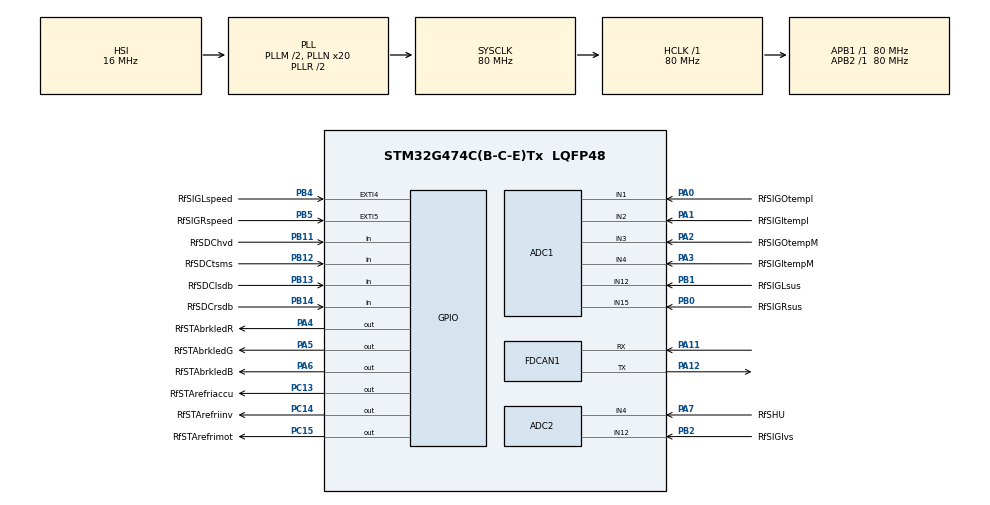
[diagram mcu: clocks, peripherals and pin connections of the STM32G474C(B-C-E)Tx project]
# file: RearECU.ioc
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ADC1.Channel-0\#ChannelRegularConversion=ADC_CHANNEL_1
ADC1.Channel-1\#ChannelRegularConversion=ADC_CHANNEL_2
ADC1.Channel-2\#ChannelRegularConversion=ADC_CHANNEL_3
ADC1.Channel-3\#ChannelRegularConversion=ADC_CHANNEL_4
ADC1.Channel-4\#ChannelRegularConversion=ADC_CHANNEL_12
ADC1.Channel-5\#ChannelRegularConversion=ADC_CHANNEL_15
ADC1.ClockPrescaler=ADC_CLOCK_SYNC_PCLK_DIV2
ADC1.ContinuousConvMode=ENABLE
ADC1.DMAContinuousRequests=ENABLE
ADC1.EOCSelection=ADC_EOC_SEQ_CONV
ADC1.EnableAnalogWatchDog1=false
ADC1.EnableInjectedConversion=DISABLE
ADC1.Mode=ADC_MODE_INDEPENDENT
ADC1.NbrOfConversion=6
ADC1.NbrOfConversionFlag=1
ADC1.OffsetNumber-0\#ChannelRegularConversion=ADC_OFFSET_NONE
ADC1.OffsetNumber-1\#ChannelRegularConversion=ADC_OFFSET_NONE
ADC1.OffsetNumber-2\#ChannelRegularConversion=ADC_OFFSET_NONE
ADC1.OffsetNumber-3\#ChannelRegularConversion=ADC_OFFSET_NONE
ADC1.OffsetNumber-4\#ChannelRegularConversion=ADC_OFFSET_NONE
ADC1.OffsetNumber-5\#ChannelRegularConversion=ADC_OFFSET_NONE
ADC1.Rank-0\#ChannelRegularConversion=1
ADC1.Rank-1\#ChannelRegularConversion=2
ADC1.Rank-2\#ChannelRegularConversion=3
ADC1.Rank-3\#ChannelRegularConversion=4
ADC1.Rank-4\#ChannelRegularConversion=5
ADC1.Rank-5\#ChannelRegularConversion=6
ADC1.Rank1_Channel=ADC_CHANNEL_1
ADC1.SamplingTime-0\#ChannelRegularConversion=ADC_SAMPLETIME_247CYCLES_5
ADC1.SamplingTime-1\#ChannelRegularConversion=ADC_SAMPLETIME_247CYCLES_5
ADC1.SamplingTime-2\#ChannelRegularConversion=ADC_SAMPLETIME_247CYCLES_5
ADC1.SamplingTime-3\#ChannelRegularConversion=ADC_SAMPLETIME_247CYCLES_5
ADC1.SamplingTime-4\#ChannelRegularConversion=ADC_SAMPLETIME_247CYCLES_5
ADC1.SamplingTime-5\#ChannelRegularConversion=ADC_SAMPLETIME_247CYCLES_5
ADC1.master=1
ADC2.Channel-0\#ChannelRegularConversion=ADC_CHANNEL_4
ADC2.Channel-1\#ChannelRegularConversion=ADC_CHANNEL_12
ADC2.DMAContinuousRequests=ENABLE
ADC2.EOCSelection=ADC_EOC_SEQ_CONV
ADC2.NbrOfConversion=2
ADC2.NbrOfConversionFlag=1
ADC2.OffsetNumber-0\#ChannelRegularConversion=ADC_OFFSET_NONE
ADC2.OffsetNumber-1\#ChannelRegularConversion=ADC_OFFSET_NONE
ADC2.Rank-0\#ChannelRegularConversion=1
ADC2.Rank-1\#ChannelRegularConversion=2
ADC2.SamplingTime-0\#ChannelRegularConversion=ADC_SAMPLETIME_247CYCLES_5
ADC2.SamplingTime-1\#ChannelRegularConversion=ADC_SAMPLETIME_247CYCLES_5
Dma.ADC1.0.Direction=DMA_PERIPH_TO_MEMORY
Dma.ADC1.0.EventEnable=DISABLE
Dma.ADC1.0.Instance=DMA1_Channel1
Dma.ADC1.0.MemDataAlignment=DMA_MDATAALIGN_HALFWORD
Dma.ADC1.0.MemInc=DMA_MINC_ENABLE
Dma.ADC1.0.Mode=DMA_CIRCULAR
Dma.ADC1.0.PeriphDataAlignment=DMA_PDATAALIGN_HALFWORD
Dma.ADC1.0.PeriphInc=DMA_PINC_DISABLE
Dma.ADC1.0.Polarity=HAL_DMAMUX_REQ_GEN_RISING
Dma.ADC1.0.Priority=DMA_PRIORITY_LOW
Dma.ADC1.0.RequestNumber=1
Dma.ADC1.0.SignalID=NONE
Dma.ADC1.0.SyncEnable=DISABLE
Dma.ADC1.0.SyncPolarity=HAL_DMAMUX_SYNC_NO_EVENT
Dma.ADC1.0.SyncRequestNumber=1
Dma.ADC1.0.SyncSignalID=NONE
Dma.ADC2.1.Direction=DMA_PERIPH_TO_MEMORY
Dma.ADC2.1.EventEnable=DISABLE
Dma.ADC2.1.Instance=DMA1_Channel2
Dma.ADC2.1.MemDataAlignment=DMA_MDATAALIGN_HALFWORD
Dma.ADC2.1.MemInc=DMA_MINC_ENABLE
Dma.ADC2.1.Mode=DMA_CIRCULAR
Dma.ADC2.1.PeriphDataAlignment=DMA_PDATAALIGN_HALFWORD
Dma.ADC2.1.PeriphInc=DMA_PINC_DISABLE
Dma.ADC2.1.Polarity=HAL_DMAMUX_REQ_GEN_RISING
Dma.ADC2.1.Priority=DMA_PRIORITY_LOW
Dma.ADC2.1.RequestNumber=1
Dma.ADC2.1.SignalID=NONE
Dma.ADC2.1.SyncEnable=DISABLE
Dma.ADC2.1.SyncPolarity=HAL_DMAMUX_SYNC_NO_EVENT
Dma.ADC2.1.SyncRequestNumber=1
Dma.ADC2.1.SyncSignalID=NONE
Dma.Request0=ADC1
Dma.Request1=ADC2
FDCAN1.AutoRetransmission=ENABLE
FDCAN1.CalculateBaudRateNominal=250000
FDCAN1.CalculateTimeBitNominal=4000
FDCAN1.CalculateTimeQuantumNominal=250.0
FDCAN1.NominalPrescaler=20
FDCAN1.NominalTimeSeg1=13
FDCAN1.NominalTimeSeg2=2
Mcu.Family=STM32G4
Mcu.Name=STM32G474C(B-C-E)Tx
Mcu.Package=LQFP48
NVIC.ADC1_2_IRQn=true\:0\:0\:false\:false\:true\:true\:true\:true
NVIC.DMA1_Channel1_IRQn=true\:0\:0\:false\:false\:true\:false\:true\:true
NVIC.DMA1_Channel2_IRQn=true\:0\:0\:false\:false\:true\:false\:true\:true
NVIC.PriorityGroup=NVIC_PRIORITYGROUP_4
PA0.GPIO_Label=RfSIGOtempI
PA0.Mode=IN1-Single-Ended
PA0.Signal=ADC1_IN1
PA1.GPIO_Label=RfSIGItempI
PA1.Mode=IN2-Single-Ended
PA1.Signal=ADC1_IN2
PA11.Mode=FDCAN_Activate
PA11.Signal=FDCAN1_RX
PA12.Mode=FDCAN_Activate
PA12.Signal=FDCAN1_TX
PA13.Mode=Trace_Asynchronous_SW
PA13.Signal=SYS_JTMS-SWDIO
PA14.Mode=Trace_Asynchronous_SW
PA14.Signal=SYS_JTCK-SWCLK
PA2.GPIO_Label=RfSIGOtempM
PA2.Mode=IN3-Single-Ended
PA2.Signal=ADC1_IN3
PA3.GPIO_Label=RfSIGItempM
PA3.Mode=IN4-Single-Ended
PA3.Signal=ADC1_IN4
PA4.GPIO_Label=RfSTAbrkledR
PA4.Signal=GPIO_Output
PA5.GPIO_Label=RfSTAbrkledG
PA5.Signal=GPIO_Output
PA6.GPIO_Label=RfSTAbrkledB
PA6.Signal=GPIO_Output
PA7.GPIO_Label=RfSHU
PA7.Mode=IN4-Single-Ended
PA7.Signal=ADC2_IN4
PB0.GPIO_Label=RfSIGRsus
PB0.Mode=IN15-Single-Ended
PB0.Signal=ADC1_IN15
PB1.GPIO_Label=RfSIGLsus
PB1.Mode=IN12-Single-Ended
PB1.Signal=ADC1_IN12
PB11.GPIO_Label=RfSDChvd
PB11.Signal=GPIO_Input
PB12.GPIO_Label=RfSDCtsms
PB12.Signal=GPIO_Input
PB13.GPIO_Label=RfSDClsdb
PB13.Signal=GPIO_Input
PB14.GPIO_Label=RfSDCrsdb
PB14.Signal=GPIO_Input
PB2.GPIO_Label=RfSIGlvs
PB2.Mode=IN12-Single-Ended
PB2.Signal=ADC2_IN12
PB3.Mode=Trace_Asynchronous_SW
PB3.Signal=SYS_JTDO-SWO
PB4.GPIO_Label=RfSIGLspeed
PB4.Signal=GPXTI4
PB5.GPIO_Label=RfSIGRspeed
PB5.Signal=GPXTI5
PC13.GPIO_Label=RfSTArefriaccu
PC13.Signal=GPIO_Output
PC14-OSC32_IN.GPIO_Label=RfSTArefriinv
PC14-OSC32_IN.Signal=GPIO_Output
PC15-OSC32_OUT.GPIO_Label=RfSTArefrimot
PC15-OSC32_OUT.Signal=GPIO_Output
PF0-OSC_IN.Mode=HSE-External-Oscillator
PF0-OSC_IN.Signal=RCC_OSC_IN
PF1-OSC_OUT.Mode=HSE-External-Oscillator
PF1-OSC_OUT.Signal=RCC_OSC_OUT
ProjectManager.HeapSize=0x200
ProjectManager.StackSize=0x400
ProjectManager.TargetToolchain=STM32CubeIDE
RCC.ADC12Freq_Value=80000000
RCC.ADC345Freq_Value=80000000
RCC.AHBFreq_Value=80000000
RCC.APB1Freq_Value=80000000
RCC.APB1TimFreq_Value=80000000
RCC.APB2Freq_Value=80000000
RCC.APB2TimFreq_Value=80000000
RCC.CortexFreq_Value=80000000
RCC.EXTERNAL_CLOCK_VALUE=12288000
RCC.FDCANCLockSelection=RCC_FDCANCLKSOURCE_PLL
RCC.HCLKFreq_Value=80000000
RCC.HSE_VALUE=8000000
RCC.HSI48_VALUE=48000000
RCC.HSI_VALUE=16000000
RCC.LSE_VALUE=32768
RCC.PLLM=RCC_PLLM_DIV2
RCC.PLLN=20
RCC.SYSCLKFreq_VALUE=80000000
RCC.SYSCLKSource=RCC_SYSCLKSOURCE_PLLCLK
RCC.USBFreq_Value=80000000
RCC.VCOOutputFreq_Value=160000000
VP_SYS_VS_DBSignals.Mode=DisableDeadBatterySignals
board=custom

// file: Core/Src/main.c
/* USER CODE BEGIN Header */
/**
  ******************************************************************************
  * @file           : main.c
  * @brief          : Main program body
  ******************************************************************************
  * @attention
  *
  * Copyright (c) 2026 STMicroelectronics.
  * All rights reserved.
  *
  * This software is licensed under terms that can be found in the LICENSE file
  * in the root directory of this software component.
  * If no LICENSE file comes with this software, it is provided AS-IS.
  *
  ******************************************************************************
  */
/* USER CODE END Header */
#include "main.h"

/* USER CODE BEGIN Includes */
#include "F2P.h"
/* USER CODE END Includes */

ADC_HandleTypeDef hadc1;
ADC_HandleTypeDef hadc2;
DMA_HandleTypeDef hdma_adc1;
DMA_HandleTypeDef hdma_adc2;

FDCAN_HandleTypeDef hfdcan1;

/* USER CODE BEGIN PV */

#define DMA_CH1 6
#define DMA_CH2 2

uint16_t adc1_buf[DMA_CH1];
uint16_t adc2_buf[DMA_CH2];

FDCAN_RxHeaderTypeDef RxHeader;
uint8_t RxData[8];
uint32_t datoRecibido = 0;

FDCAN_TxHeaderTypeDef TxHeader;
uint8_t TxData[8];
uint32_t TxMailbox;
/* USER CODE END PV */

void SystemClock_Config(void);
static void MX_GPIO_Init(void);
static void MX_DMA_Init(void);
static void MX_FDCAN1_Init(void);
static void MX_ADC1_Init(void);
static void MX_ADC2_Init(void);

int main(void)
{

  /* MCU Configuration--------------------------------------------------------*/

  /* Reset of all peripherals, Initializes the Flash interface and the Systick. */
  HAL_Init();

  /* Configure the system clock */
  SystemClock_Config();

  /* Initialize all configured peripherals */
  MX_GPIO_Init();
  MX_DMA_Init();
  MX_FDCAN1_Init();
  MX_ADC1_Init();
  MX_ADC2_Init();
  /* USER CODE BEGIN 2 */
  // Calibrar ADCs
  HAL_ADCEx_Calibration_Start(&hadc1, ADC_SINGLE_ENDED);
  HAL_ADCEx_Calibration_Start(&hadc2, ADC_SINGLE_ENDED);

  // Arrancar DMA
  HAL_ADC_Start_DMA(&hadc1, (uint32_t*)adc1_buf, DMA_CH1);
  HAL_ADC_Start_DMA(&hadc2, (uint32_t*)adc2_buf, DMA_CH2);

  FDCAN_FilterTypeDef sFilterConfig;

  sFilterConfig.IdType = FDCAN_STANDARD_ID; // 11 bits de ID
  sFilterConfig.FilterIndex = 0;
  sFilterConfig.FilterType = FDCAN_FILTER_RANGE;
  sFilterConfig.FilterConfig = FDCAN_FILTER_TO_RXFIFO0;
  sFilterConfig.FilterID1 = 0x000; //Flitre de IDs desde la 000 fins la 7FF
  sFilterConfig.FilterID2 = 0x7FF; //

  if (HAL_FDCAN_ConfigFilter(&hfdcan1, &sFilterConfig) != HAL_OK)
  {
    Error_Handler();
  }

  HAL_FDCAN_Start(&hfdcan1);
  HAL_FDCAN_ActivateNotification(&hfdcan1, FDCAN_IT_RX_FIFO0_NEW_MESSAGE, 0);

  TxHeader.Identifier = 0x123; // RearECUID
  TxHeader.IdType = FDCAN_STANDARD_ID;        // ID de 11 bits
  TxHeader.TxFrameType = FDCAN_DATA_FRAME;
  TxHeader.DataLength = FDCAN_DLC_BYTES_8;
  TxHeader.ErrorStateIndicator = FDCAN_ESI_ACTIVE;
  TxHeader.BitRateSwitch = FDCAN_BRS_OFF;
  TxHeader.FDFormat = FDCAN_CLASSIC_CAN;
  TxHeader.TxEventFifoControl = FDCAN_NO_TX_EVENTS;
  TxHeader.MessageMarker = 0;
  /* USER CODE END 2 */

  /* Infinite loop */
  /* USER CODE BEGIN WHILE */
  while (1)
  {
	F2P_ProcessADC();
	F2P_ProcessGPIOIN();
    /* USER CODE END WHILE */

  }
}

void SystemClock_Config(void)
{
  RCC_OscInitTypeDef RCC_OscInitStruct = {0};
  RCC_ClkInitTypeDef RCC_ClkInitStruct = {0};

  /** Configure the main internal regulator output voltage
  */
  HAL_PWREx_ControlVoltageScaling(PWR_REGULATOR_VOLTAGE_SCALE1);

  /** Initializes the RCC Oscillators according to the specified parameters
  * in the RCC_OscInitTypeDef structure.
  */
  RCC_OscInitStruct.OscillatorType = RCC_OSCILLATORTYPE_HSI;
  RCC_OscInitStruct.HSIState = RCC_HSI_ON;
  RCC_OscInitStruct.HSICalibrationValue = RCC_HSICALIBRATION_DEFAULT;
  RCC_OscInitStruct.PLL.PLLState = RCC_PLL_ON;
  RCC_OscInitStruct.PLL.PLLSource = RCC_PLLSOURCE_HSI;
  RCC_OscInitStruct.PLL.PLLM = RCC_PLLM_DIV2;
  RCC_OscInitStruct.PLL.PLLN = 20;
  RCC_OscInitStruct.PLL.PLLP = RCC_PLLP_DIV2;
  RCC_OscInitStruct.PLL.PLLQ = RCC_PLLQ_DIV2;
  RCC_OscInitStruct.PLL.PLLR = RCC_PLLR_DIV2;
  if (HAL_RCC_OscConfig(&RCC_OscInitStruct) != HAL_OK)
  {
    Error_Handler();
  }

  /** Initializes the CPU, AHB and APB buses clocks
  */
  RCC_ClkInitStruct.ClockType = RCC_CLOCKTYPE_HCLK|RCC_CLOCKTYPE_SYSCLK
                              |RCC_CLOCKTYPE_PCLK1|RCC_CLOCKTYPE_PCLK2;
  RCC_ClkInitStruct.SYSCLKSource = RCC_SYSCLKSOURCE_PLLCLK;
  RCC_ClkInitStruct.AHBCLKDivider = RCC_SYSCLK_DIV1;
  RCC_ClkInitStruct.APB1CLKDivider = RCC_HCLK_DIV1;
  RCC_ClkInitStruct.APB2CLKDivider = RCC_HCLK_DIV1;

  if (HAL_RCC_ClockConfig(&RCC_ClkInitStruct, FLASH_LATENCY_2) != HAL_OK)
  {
    Error_Handler();
  }
}

static void MX_ADC1_Init(void)
{

  ADC_MultiModeTypeDef multimode = {0};
  ADC_ChannelConfTypeDef sConfig = {0};

  /** Common config
  */
  hadc1.Instance = ADC1;
  hadc1.Init.ClockPrescaler = ADC_CLOCK_SYNC_PCLK_DIV2;
  hadc1.Init.Resolution = ADC_RESOLUTION_12B;
  hadc1.Init.DataAlign = ADC_DATAALIGN_RIGHT;
  hadc1.Init.GainCompensation = 0;
  hadc1.Init.ScanConvMode = ADC_SCAN_ENABLE;
  hadc1.Init.EOCSelection = ADC_EOC_SEQ_CONV;
  hadc1.Init.LowPowerAutoWait = DISABLE;
  hadc1.Init.ContinuousConvMode = ENABLE;
  hadc1.Init.NbrOfConversion = 6;
  hadc1.Init.DiscontinuousConvMode = DISABLE;
  hadc1.Init.ExternalTrigConv = ADC_SOFTWARE_START;
  hadc1.Init.ExternalTrigConvEdge = ADC_EXTERNALTRIGCONVEDGE_NONE;
  hadc1.Init.DMAContinuousRequests = ENABLE;
  hadc1.Init.Overrun = ADC_OVR_DATA_PRESERVED;
  hadc1.Init.OversamplingMode = DISABLE;
  if (HAL_ADC_Init(&hadc1) != HAL_OK)
  {
    Error_Handler();
  }

  /** Configure the ADC multi-mode
  */
  multimode.Mode = ADC_MODE_INDEPENDENT;
  if (HAL_ADCEx_MultiModeConfigChannel(&hadc1, &multimode) != HAL_OK)
  {
    Error_Handler();
  }

  /** Configure Regular Channel
  */
  sConfig.Channel = ADC_CHANNEL_1;
  sConfig.Rank = ADC_REGULAR_RANK_1;
  sConfig.SamplingTime = ADC_SAMPLETIME_247CYCLES_5;
  sConfig.SingleDiff = ADC_SINGLE_ENDED;
  sConfig.OffsetNumber = ADC_OFFSET_NONE;
  sConfig.Offset = 0;
  if (HAL_ADC_ConfigChannel(&hadc1, &sConfig) != HAL_OK)
  {
    Error_Handler();
  }

  /** Configure Regular Channel
  */
  sConfig.Channel = ADC_CHANNEL_2;
  sConfig.Rank = ADC_REGULAR_RANK_2;
  if (HAL_ADC_ConfigChannel(&hadc1, &sConfig) != HAL_OK)
  {
    Error_Handler();
  }

  /** Configure Regular Channel
  */
  sConfig.Channel = ADC_CHANNEL_3;
  sConfig.Rank = ADC_REGULAR_RANK_3;
  if (HAL_ADC_ConfigChannel(&hadc1, &sConfig) != HAL_OK)
  {
    Error_Handler();
  }

  /** Configure Regular Channel
  */
  sConfig.Channel = ADC_CHANNEL_4;
  sConfig.Rank = ADC_REGULAR_RANK_4;
  if (HAL_ADC_ConfigChannel(&hadc1, &sConfig) != HAL_OK)
  {
    Error_Handler();
  }

  /** Configure Regular Channel
  */
  sConfig.Channel = ADC_CHANNEL_12;
  sConfig.Rank = ADC_REGULAR_RANK_5;
  if (HAL_ADC_ConfigChannel(&hadc1, &sConfig) != HAL_OK)
  {
    Error_Handler();
  }

  /** Configure Regular Channel
  */
  sConfig.Channel = ADC_CHANNEL_15;
  sConfig.Rank = ADC_REGULAR_RANK_6;
  if (HAL_ADC_ConfigChannel(&hadc1, &sConfig) != HAL_OK)
  {
    Error_Handler();
  }

}

static void MX_ADC2_Init(void)
{

  ADC_ChannelConfTypeDef sConfig = {0};

  /** Common config
  */
  hadc2.Instance = ADC2;
  hadc2.Init.ClockPrescaler = ADC_CLOCK_SYNC_PCLK_DIV2;
  hadc2.Init.Resolution = ADC_RESOLUTION_12B;
  hadc2.Init.DataAlign = ADC_DATAALIGN_RIGHT;
  hadc2.Init.GainCompensation = 0;
  hadc2.Init.ScanConvMode = ADC_SCAN_ENABLE;
  hadc2.Init.EOCSelection = ADC_EOC_SEQ_CONV;
  hadc2.Init.LowPowerAutoWait = DISABLE;
  hadc2.Init.ContinuousConvMode = DISABLE;
  hadc2.Init.NbrOfConversion = 2;
  hadc2.Init.DiscontinuousConvMode = DISABLE;
  hadc2.Init.ExternalTrigConv = ADC_SOFTWARE_START;
  hadc2.Init.ExternalTrigConvEdge = ADC_EXTERNALTRIGCONVEDGE_NONE;
  hadc2.Init.DMAContinuousRequests = ENABLE;
  hadc2.Init.Overrun = ADC_OVR_DATA_PRESERVED;
  hadc2.Init.OversamplingMode = DISABLE;
  if (HAL_ADC_Init(&hadc2) != HAL_OK)
  {
    Error_Handler();
  }

  /** Configure Regular Channel
  */
  sConfig.Channel = ADC_CHANNEL_4;
  sConfig.Rank = ADC_REGULAR_RANK_1;
  sConfig.SamplingTime = ADC_SAMPLETIME_247CYCLES_5;
  sConfig.SingleDiff = ADC_SINGLE_ENDED;
  sConfig.OffsetNumber = ADC_OFFSET_NONE;
  sConfig.Offset = 0;
  if (HAL_ADC_ConfigChannel(&hadc2, &sConfig) != HAL_OK)
  {
    Error_Handler();
  }

  /** Configure Regular Channel
  */
  sConfig.Channel = ADC_CHANNEL_12;
  sConfig.Rank = ADC_REGULAR_RANK_2;
  if (HAL_ADC_ConfigChannel(&hadc2, &sConfig) != HAL_OK)
  {
    Error_Handler();
  }

}

static void MX_FDCAN1_Init(void)
{

  hfdcan1.Instance = FDCAN1;
  hfdcan1.Init.ClockDivider = FDCAN_CLOCK_DIV1;
  hfdcan1.Init.FrameFormat = FDCAN_FRAME_CLASSIC;
  hfdcan1.Init.Mode = FDCAN_MODE_NORMAL;
  hfdcan1.Init.AutoRetransmission = ENABLE;
  hfdcan1.Init.TransmitPause = DISABLE;
  hfdcan1.Init.ProtocolException = DISABLE;
  hfdcan1.Init.NominalPrescaler = 20;
  hfdcan1.Init.NominalSyncJumpWidth = 1;
  hfdcan1.Init.NominalTimeSeg1 = 13;
  hfdcan1.Init.NominalTimeSeg2 = 2;
  hfdcan1.Init.DataPrescaler = 1;
  hfdcan1.Init.DataSyncJumpWidth = 1;
  hfdcan1.Init.DataTimeSeg1 = 1;
  hfdcan1.Init.DataTimeSeg2 = 1;
  hfdcan1.Init.StdFiltersNbr = 0;
  hfdcan1.Init.ExtFiltersNbr = 0;
  hfdcan1.Init.TxFifoQueueMode = FDCAN_TX_FIFO_OPERATION;
  if (HAL_FDCAN_Init(&hfdcan1) != HAL_OK)
  {
    Error_Handler();
  }

}

static void MX_DMA_Init(void)
{

  /* DMA controller clock enable */
  __HAL_RCC_DMAMUX1_CLK_ENABLE();
  __HAL_RCC_DMA1_CLK_ENABLE();

  /* DMA interrupt init */
  /* DMA1_Channel1_IRQn interrupt configuration */
  HAL_NVIC_SetPriority(DMA1_Channel1_IRQn, 0, 0);
  HAL_NVIC_EnableIRQ(DMA1_Channel1_IRQn);
  /* DMA1_Channel2_IRQn interrupt configuration */
  HAL_NVIC_SetPriority(DMA1_Channel2_IRQn, 0, 0);
  HAL_NVIC_EnableIRQ(DMA1_Channel2_IRQn);

}

static void MX_GPIO_Init(void)
{
  GPIO_InitTypeDef GPIO_InitStruct = {0};

  /* GPIO Ports Clock Enable */
  __HAL_RCC_GPIOC_CLK_ENABLE();
  __HAL_RCC_GPIOF_CLK_ENABLE();
  __HAL_RCC_GPIOA_CLK_ENABLE();
  __HAL_RCC_GPIOB_CLK_ENABLE();

  /*Configure GPIO pin Output Level */
  HAL_GPIO_WritePin(GPIOC, RfSTArefriaccu_Pin|RfSTArefriinv_Pin|RfSTArefrimot_Pin, GPIO_PIN_RESET);

  /*Configure GPIO pin Output Level */
  HAL_GPIO_WritePin(GPIOA, RfSTAbrkledR_Pin|RfSTAbrkledG_Pin|RfSTAbrkledB_Pin, GPIO_PIN_RESET);

  /*Configure GPIO pins : RfSTArefriaccu_Pin RfSTArefriinv_Pin RfSTArefrimot_Pin */
  GPIO_InitStruct.Pin = RfSTArefriaccu_Pin|RfSTArefriinv_Pin|RfSTArefrimot_Pin;
  GPIO_InitStruct.Mode = GPIO_MODE_OUTPUT_PP;
  GPIO_InitStruct.Pull = GPIO_NOPULL;
  GPIO_InitStruct.Speed = GPIO_SPEED_FREQ_LOW;
  HAL_GPIO_Init(GPIOC, &GPIO_InitStruct);

  /*Configure GPIO pins : RfSTAbrkledR_Pin RfSTAbrkledG_Pin RfSTAbrkledB_Pin */
  GPIO_InitStruct.Pin = RfSTAbrkledR_Pin|RfSTAbrkledG_Pin|RfSTAbrkledB_Pin;
  GPIO_InitStruct.Mode = GPIO_MODE_OUTPUT_PP;
  GPIO_InitStruct.Pull = GPIO_NOPULL;
  GPIO_InitStruct.Speed = GPIO_SPEED_FREQ_LOW;
  HAL_GPIO_Init(GPIOA, &GPIO_InitStruct);

  /*Configure GPIO pins : RfSDChvd_Pin RfSDCtsms_Pin RfSDClsdb_Pin RfSDCrsdb_Pin */
  GPIO_InitStruct.Pin = RfSDChvd_Pin|RfSDCtsms_Pin|RfSDClsdb_Pin|RfSDCrsdb_Pin;
  GPIO_InitStruct.Mode = GPIO_MODE_INPUT;
  GPIO_InitStruct.Pull = GPIO_NOPULL;
  HAL_GPIO_Init(GPIOB, &GPIO_InitStruct);

  /*Configure GPIO pins : RfSIGLspeed_Pin RfSIGRspeed_Pin */
  GPIO_InitStruct.Pin = RfSIGLspeed_Pin|RfSIGRspeed_Pin;
  GPIO_InitStruct.Mode = GPIO_MODE_IT_RISING;
  GPIO_InitStruct.Pull = GPIO_NOPULL;
  HAL_GPIO_Init(GPIOB, &GPIO_InitStruct);

}

/* USER CODE BEGIN 4 */
void HAL_FDCAN_RxFifo0Callback(FDCAN_HandleTypeDef *hfdcan, uint32_t RxFifo0ITs)
{
    if ((RxFifo0ITs & FDCAN_IT_RX_FIFO0_NEW_MESSAGE) != RESET)
    {
        // Extraer el mensaje del buzón
        if (HAL_FDCAN_GetRxMessage(hfdcan, FDCAN_RX_FIFO0, &RxHeader, RxData) == HAL_OK)
        {
            // Ejemplo: Si el mensaje tiene ID 0x100, guardamos el primer byte
            if (RxHeader.Identifier == 0x100)
            {
                datoRecibido = RxData[0];
            }
        }
    }
}
/* USER CODE END 4 */

void Error_Handler(void)
{
  /* USER CODE BEGIN Error_Handler_Debug */
	uint32_t errorCodeADC2 = hadc2.ErrorCode;
	uint32_t stateADC2 = HAL_ADC_GetState(&hadc2);
  /* User can add his own implementation to report the HAL error return state */
  __disable_irq();
  while (1)
  {}
  /* USER CODE END Error_Handler_Debug */
}
